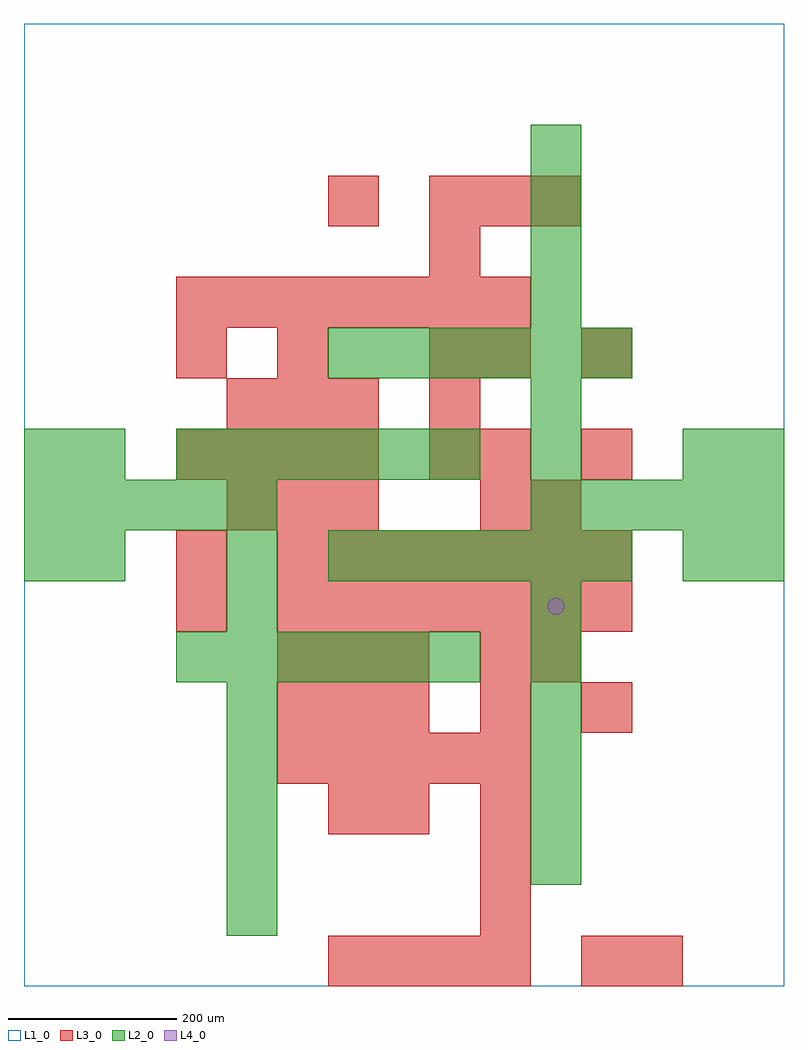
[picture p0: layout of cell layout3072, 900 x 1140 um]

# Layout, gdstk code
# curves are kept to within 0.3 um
import gdstk
lib = gdstk.Library(unit=1e-6, precision=1e-09)
def R(c, l, rs):  # rectangles x0, y0, x1, y1
    for r in rs: c.add(gdstk.rectangle(r[:2], r[2:], *l))
def A(c, l, x, y, w, h, nx, ny, dx, dy):  # array of equal rectangles
    R(c, l, [(x+i*dx, y+j*dy, x+i*dx+w, y+j*dy+h) for i in range(nx) for j in range(ny)])
def P(c, l, *ps):  # polygons
    for p in ps: c.add(gdstk.Polygon(p, *l))
L1_0 = (1, 0)
L2_0 = (2, 0)
L3_0 = (3, 0)
L4_0 = (4, 0)

layout3072 = lib.new_cell('layout3072')
R(layout3072, L1_0, [(0,0,900,1140)])
A(layout3072, L2_0, 240, 60, 60, 60, 1, 5, 0, 60)
A(layout3072, L2_0, 600, 120, 60, 60, 1, 6, 0, 60)
A(layout3072, L2_0, 180, 360, 60, 60, 6, 2, 60, 240)
A(layout3072, L2_0, 360, 480, 60, 60, 6, 2, 60, 240)
A(layout3072, L2_0, 0, 540, 60, 60, 5, 1, 60, 0)
A(layout3072, L2_0, 600, 540, 60, 60, 5, 1, 60, 0)
A(layout3072, L2_0, 600, 780, 60, 60, 1, 4, 0, 60)
R(layout3072, L2_0, [(240,420,300,480), (0,480,60,540), (60,480,120,540), (240,480,300,540), (780,480,840,540), (840,480,900,540), (0,600,60,660), (60,600,120,660), (600,600,660,660), (780,600,840,660), (840,600,900,660), (600,660,660,720)])
A(layout3072, L3_0, 360, 0, 60, 60, 4, 1, 60, 0)
A(layout3072, L3_0, 660, 0, 60, 60, 1, 3, 0, 300)
A(layout3072, L3_0, 540, 60, 60, 60, 1, 3, 0, 60)
A(layout3072, L3_0, 300, 240, 60, 60, 5, 1, 60, 0)
A(layout3072, L3_0, 300, 300, 60, 60, 3, 2, 60, 60)
A(layout3072, L3_0, 300, 420, 60, 60, 7, 2, 60, 60)
A(layout3072, L3_0, 240, 540, 60, 60, 3, 2, 60, 120)
A(layout3072, L3_0, 180, 600, 60, 60, 4, 1, 60, 0)
A(layout3072, L3_0, 480, 600, 60, 60, 1, 3, 0, 60)
A(layout3072, L3_0, 180, 780, 60, 60, 7, 1, 60, 0)
A(layout3072, L3_0, 480, 900, 60, 60, 3, 1, 60, 0)
R(layout3072, L3_0, [(720,0,780,60), (360,180,420,240), (420,180,480,240), (540,300,600,360), (540,360,600,420), (600,360,660,420), (180,420,240,480), (180,480,240,540), (540,540,600,600), (600,540,660,600), (540,600,600,660), (180,720,240,780), (300,720,360,780), (540,720,600,780), (660,720,720,780), (480,840,540,900), (360,900,420,960)])
P(layout3072, L4_0, [(640,450),(639.239,453.827),(637.071,457.071),(633.827,459.239),(630,460),(626.173,459.239),(622.929,457.071),(620.761,453.827),(620,450),(620.761,446.173),(622.929,442.929),(626.173,440.761),(630,440),(633.827,440.761),(637.071,442.929),(639.239,446.173)])

lib.write_gds('layout3072.gds')
